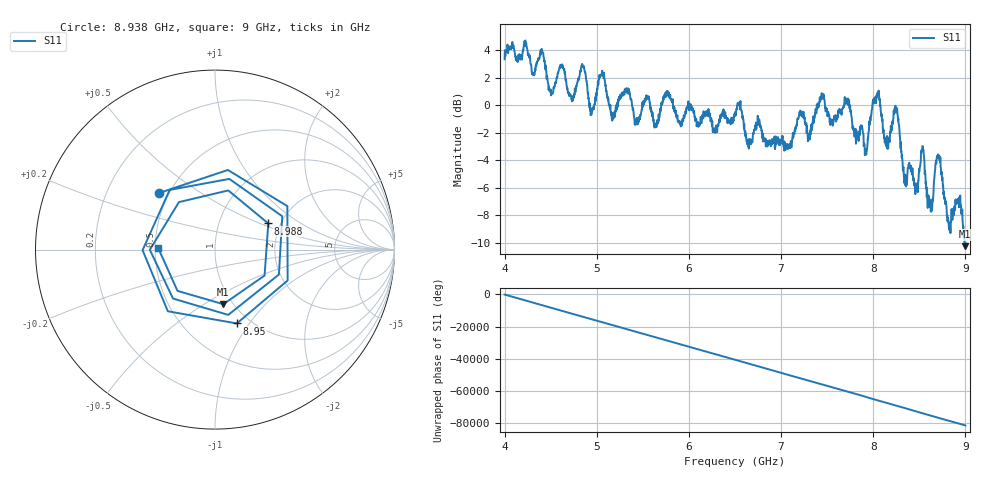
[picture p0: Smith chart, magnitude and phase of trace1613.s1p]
! Created with skrf 1.8.0 (http://scikit-rf.org).
# Hz S RI R 50.0
!freq ReS11 ImS11
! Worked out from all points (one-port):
!   1601 points, 4 GHz to 9 GHz, reference 50 ohm
!   lowest |S11| = -10.2 dB at 8.994 GHz (marker M1), VSWR 1.89, Z = 45.2 - j30.4 ohm
!   |S11| at or under -10 dB: 8.990285 GHz to end of sweep
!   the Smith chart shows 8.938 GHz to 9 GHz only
!   S11 on the Smith chart (normalised r, x): 8.938 GHz: 0.44, +0.35; 8.95 GHz: 0.87, -0.87; 8.988 GHz: 1.73, +0.56; 9 GHz: 0.52, +0.01
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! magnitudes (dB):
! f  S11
! 4 GHz  3.4
! 4.406 GHz  3.9
! 4.503 GHz  0.7
! 4.625 GHz  3.0
! 4.731 GHz  0.3
! 4.853 GHz  2.8
! 4.944 GHz  -0.6
! 5.053 GHz  2.3
! 5.25 GHz  0.5
! 5.875 GHz  -0.7
! 6.5 GHz  -0.5
! 7.125 GHz  -2.3
! 7.444 GHz  0.5
! 7.75 GHz  -0.1
! 7.919 GHz  -3.2
! 8.034 GHz  0.7
! 8.144 GHz  -3.0
! 8.247 GHz  -0.4
! 8.375 GHz  -4.5
! 8.538 GHz  -3.0
! 8.616 GHz  -7.4
! 8.703 GHz  -3.6
! 8.822 GHz  -9.0
! 8.938 GHz  -7.1
! 8.95 GHz  -7.4
! 8.988 GHz  -9.6
! 8.994 GHz  -10.2
! 9 GHz  -10.0
